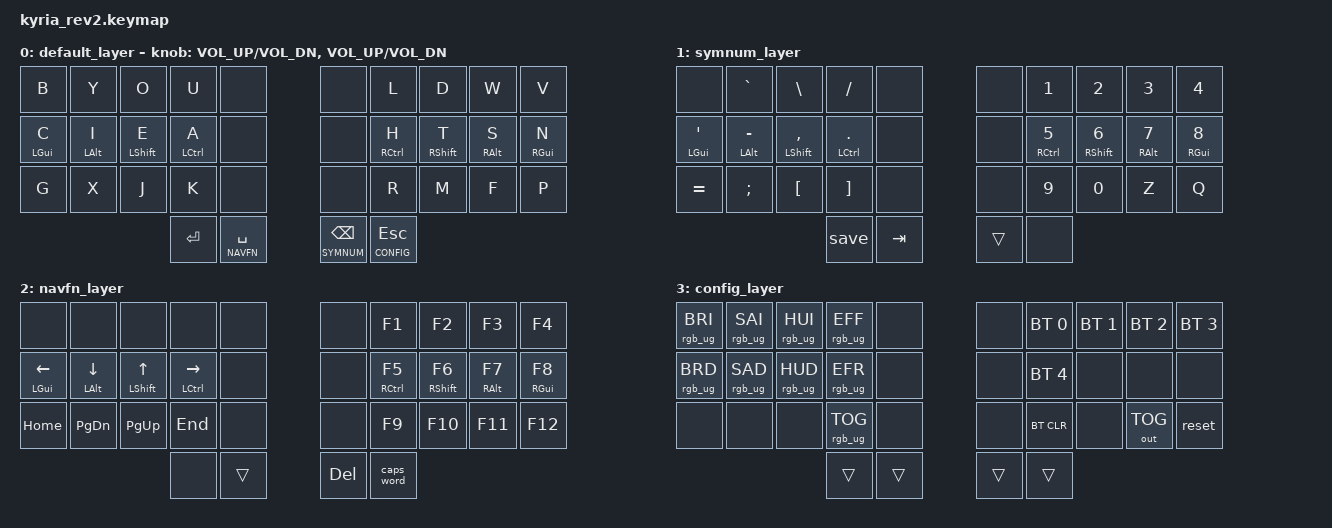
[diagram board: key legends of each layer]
/*
 * Copyright (c) 2020 The ZMK Contributors
 *
 * SPDX-License-Identifier: MIT
 */

#include <behaviors.dtsi>
#include <dt-bindings/zmk/keys.h>

#define DEFAULT 0
#define SYMNUM 1
#define NAVFN 2
#define CONFIG 3

&mt {
    tapping-term-ms = <165>;
};

/ {    
	chosen {
		zmk,matrix_transform = &five_column_transform;
	};

    macros {
            ZMK_MACRO(save,
              wait-ms = <30>;
              tap-ms = <40>;
              bindings =  <&macro_tap &kp ESC &kp COLON &kp W &kp RET>;
            )
    };

        keymap {
                compatible = "zmk,keymap";

                default_layer {
// -------------------------------------------------------------------------------------------
// |  B      |  Y      |  O       |  U       |   |  L        |  D        |  W      |  V      | 
// | LGUI(C) | LALT(I) | LSHFT(E) | LCTRL(A) |   | RCTRL(H)  | RSHFT(T)  | RALT(S) | RGUI(N) |
// | G       | X       | J        | K        |   | R         | M         | F       | P       |
//                     | RET      | NAV(SPC) |   | SYM(BSPC) | CONF(ESC) |
                        bindings = <
   &kp B      &kp Y      &kp O       &kp U       &none &none &kp L         &kp D       &kp W       &kp V
   &mt LGUI C &mt LALT I &mt LSHFT E &mt LCTRL A &none &none &mt RCTRL H   &mt RSHFT T &mt RALT S  &mt RGUI N
   &kp G      &kp X      &kp J       &kp K       &none &none &kp R         &kp M       &kp F       &kp P
                        &kp RET  &lt NAVFN SPACE  &lt SYMNUM BSPC &lt CONFIG ESC
                        >;
			sensor-bindings = <&inc_dec_kp C_VOL_UP C_VOL_DN &inc_dec_kp C_VOL_UP C_VOL_DN>;
                };

                symnum_layer {
// -------------------------------------------------------------------------------------------
// |         |  `      |  \       |  /       |   |  1        |  2        |  3      |  4      | 
// | LGUI(') | LALT(-) | LSHFT(,) | LCTRL(.) |   | RCTRL(5)  | RSHFT(6)  | RALT(7) | RGUI(8) |
// | =       | ;       | [        | ]        |   | 9         | 0         | Z       | Q       |
//                     | SAVE     | TAB      |   |           |           |
                        bindings = <
   &none      &kp GRAVE  &kp BSLH    &kp FSLH    &none &none &kp N1        &kp N2      &kp N3      &kp N4
   &mt LGUI SQT &mt LALT MINUS &mt LSHFT COMMA &mt LCTRL DOT &none &none &mt RCTRL N5   &mt RSHFT N6 &mt RALT N7  &mt RGUI N8
   &kp EQUAL      &kp SEMI      &kp LBKT       &kp RBKT       &none &none &kp N9         &kp N0       &kp Z       &kp Q
                        &save  &kp TAB &trans &none
                        >;
                };
                
                navfn_layer {
// -------------------------------------------------------------------------------------------
// |         |         |          |          |   | F1        | F2        | F3      | F4      | 
// | LGUI(LFT) | LALT(DWN) | LSHFT(UP) | LCTRL(RGT) |   | RCTRL(F5)  | RSHFT(F6)  | RALT(F7) | RGUI(F8) |
// | HOME       | PGDN       | PGUP        | END        |   | F9         | F10         | F11       | F12       |
//                     |          |          |   | DEL       |           |
                        bindings = <
   &none      &none  &none    &none    &none &none &kp F1        &kp F2      &kp F3      &kp F4
   &mt LGUI LEFT &mt LALT DOWN &mt LSHFT UP &mt LCTRL RIGHT &none &none &mt RCTRL F5   &mt RSHFT F6 &mt RALT F7  &mt RGUI F8
   &kp HOME      &kp PG_DN      &kp PG_UP       &kp END       &none &none &kp F9         &kp F10       &kp F11       &kp F12
                        &none  &trans &kp DEL &caps_word
                        >;
                };
               
                config_layer {
// -----------------------------------------------------------------------------------------
// | RGB BRI+ | RGB SAT+ | RGB HUE+ | RGB ANI+ |    | BT1  | BT2 | BT3 | BT4 |
// | RGB BRI- | RGB SAT- | RGB HUE- | RGB ANI+ |    | BT5   |       |     |     |
// |          |          |          | RGB TOG  |    | BT CLR |     |     | RESET     |
//                                              |     |     |     |     |     |
                        bindings = <
   &rgb_ug RGB_BRI &rgb_ug RGB_SAI &rgb_ug RGB_HUI &rgb_ug RGB_EFF &none &none &bt BT_SEL 0 &bt BT_SEL 1 &bt BT_SEL 2 &bt BT_SEL 3  
   &rgb_ug RGB_BRD &rgb_ug RGB_SAD &rgb_ug RGB_HUD &rgb_ug RGB_EFR &none &none &bt BT_SEL 4 &none &none        &none     
   &none           &none           &none           &rgb_ug RGB_TOG &none &none &bt BT_CLR   &none &out OUT_TOG        &reset   
                                                             &trans      &trans               &trans      &trans
                        >;

		};
	};
};
